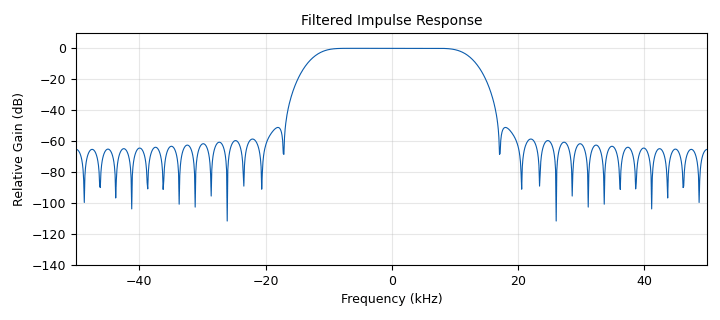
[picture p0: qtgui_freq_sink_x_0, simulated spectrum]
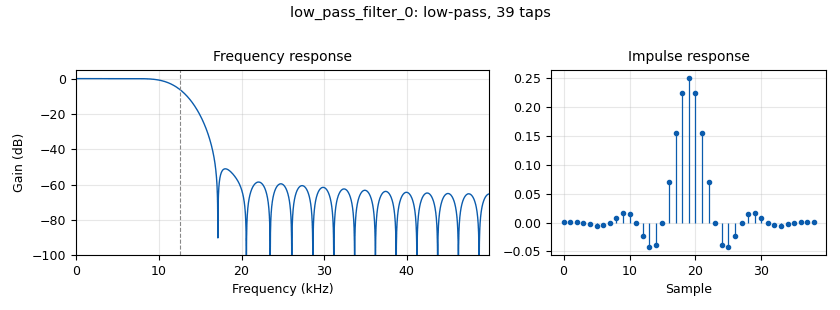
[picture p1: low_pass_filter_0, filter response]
options:
  parameters:
    author: yango
    generate_options: qt_gui
    id: responseFilterBlock
    output_language: python
    title: Response Impulse of a Filter
  states: {}

blocks:
- name: N
  id: variable
  parameters:
    value: '1024'
  states: {}
- name: samp_rate
  id: variable
  parameters:
    value: '100000'
  states: {}
- name: blocks_throttle_0
  id: blocks_throttle
  parameters:
    samples_per_second: samp_rate
    type: complex
  states: {}
- name: blocks_vector_source_x_0
  id: blocks_vector_source_x
  parameters:
    repeat: 'True'
    type: complex
    vector: (N,)+(0,)*int(N-1)
  states: {}
- name: low_pass_filter_0
  id: low_pass_filter
  parameters:
    cutoff_freq: samp_rate/8
    decim: '1'
    gain: '1'
    samp_rate: samp_rate
    type: fir_filter_ccf
    width: samp_rate/16
    win: window.WIN_HAMMING
  states: {}
- name: qtgui_freq_sink_x_0
  id: qtgui_freq_sink_x
  parameters:
    bw: samp_rate
    fc: '0'
    fftsize: N
    grid: 'True'
    name: '"Filtered Impulse Response"'
    type: complex
    wintype: window.WIN_RECTANGULAR
  states: {}

connections:
- [blocks_throttle_0, '0', qtgui_freq_sink_x_0, '0']
- [blocks_vector_source_x_0, '0', low_pass_filter_0, '0']
- [low_pass_filter_0, '0', blocks_throttle_0, '0']

metadata:
  file_format: 1
